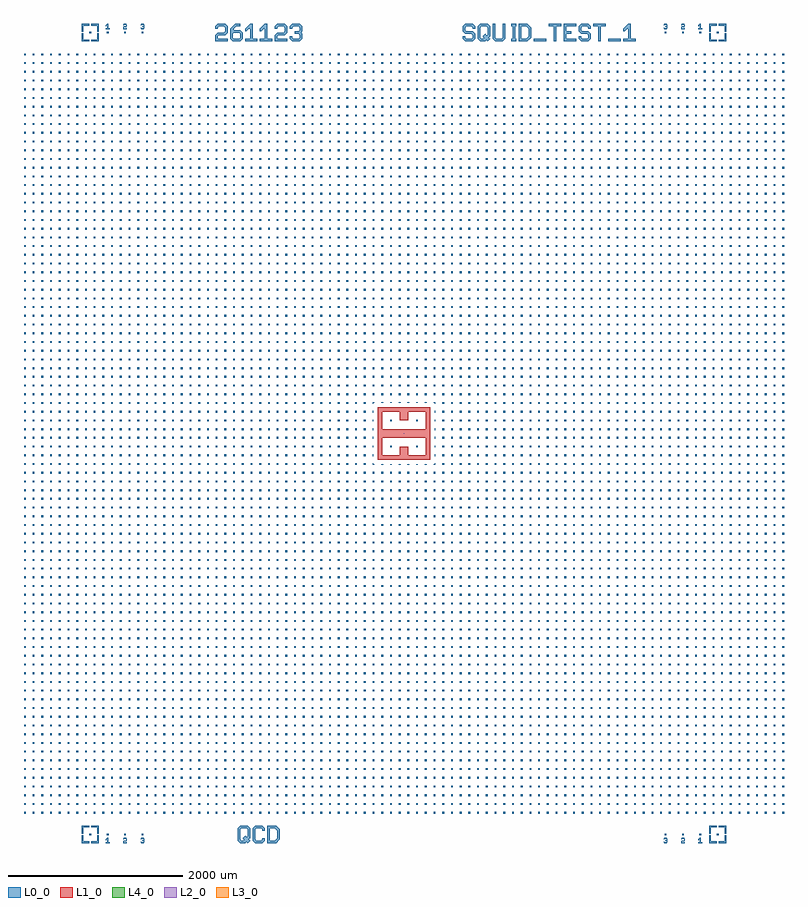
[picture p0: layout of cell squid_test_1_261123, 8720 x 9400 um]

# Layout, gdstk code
import gdstk
lib = gdstk.Library(unit=1e-6, precision=1e-09)
def R(c, l, rs):  # rectangles x0, y0, x1, y1
    for r in rs: c.add(gdstk.rectangle(r[:2], r[2:], *l))
def A(c, l, x, y, w, h, nx, ny, dx, dy):  # array of equal rectangles
    R(c, l, [(x+i*dx, y+j*dy, x+i*dx+w, y+j*dy+h) for i in range(nx) for j in range(ny)])
def P(c, l, *ps):  # polygons
    for p in ps: c.add(gdstk.Polygon(p, *l))
L0_0 = (0, 0)
L1_0 = (1, 0)
L2_0 = (2, 0)
L3_0 = (3, 0)
L4_0 = (4, 0)

squid_test_1_261123 = lib.new_cell('squid_test_1_261123')
A(squid_test_1_261123, L0_0, -3610, -4610, 20, 20, 4, 2, 200, 9200)
A(squid_test_1_261123, L0_0, 2990, -4610, 20, 20, 4, 2, 200, 9200)
A(squid_test_1_261123, L0_0, -4360, -4360, 20, 20, 88, 40, 100, 100)
A(squid_test_1_261123, L0_0, -4360, -360, 20, 20, 40, 8, 100, 100)
A(squid_test_1_261123, L0_0, -260, -360, 20, 10, 6, 2, 100, 710)
A(squid_test_1_261123, L0_0, 440, -360, 20, 20, 40, 2, 100, 100)
A(squid_test_1_261123, L0_0, -360, -260, 10, 20, 1, 6, 0, 100)
A(squid_test_1_261123, L0_0, 350, -260, 10, 20, 1, 6, 0, 100)
A(squid_test_1_261123, L0_0, -160, -160, 20, 20, 3, 2, 300, 300)
A(squid_test_1_261123, L0_0, 540, -160, 20, 20, 39, 2, 100, 300)
A(squid_test_1_261123, L0_0, 440, -60, 20, 20, 40, 2, 100, 100)
A(squid_test_1_261123, L0_0, 440, 240, 20, 20, 40, 2, 100, 100)
A(squid_test_1_261123, L0_0, -4360, 440, 20, 20, 88, 40, 100, 100)
R(squid_test_1_261123, L0_0, [(1488.095,4500,1630.952,4528.571), (2345.237,4500,2488.094,4528.571)])
P(squid_test_1_261123, L0_0, [(2230.952,4500),(2230.952,4671.428),(2173.809,4671.428),(2173.809,4700),(2316.666,4700),(2316.666,4671.428),(2259.523,4671.428),(2259.523,4500)],
  [(3610,4500),(3610,4520),(3680,4520),(3680,4590),(3700,4590),(3700,4500)],
  [(3680,4610),(3680,4680),(3610,4680),(3610,4700),(3700,4700),(3700,4610)],
  [(3500,4610),(3500,4700),(3590,4700),(3590,4680),(3520,4680),(3520,4610)],
  [(3500,4500),(3500,4590),(3520,4590),(3520,4520),(3590,4520),(3590,4500)],
  [(3378.572,4640),(3378.572,4648.571),(3395.715,4648.571),(3395.715,4682.857),(3391.429,4682.857),(3382.858,4674.286),(3378.572,4674.286),(3378.572,4682.857),(3395.715,4700),(3404.286,4700),(3404.286,4648.571),(3421.429,4648.571),(3421.429,4640)],
  [(3178.572,4640),(3178.572,4661.429),(3187.143,4670),(3208.572,4670),(3212.858,4674.286),(3212.858,4687.143),(3208.572,4691.429),(3191.429,4691.429),(3187.143,4687.143),(3187.143,4682.857),(3178.572,4682.857),(3178.572,4691.429),(3187.143,4700),(3212.858,4700),(3221.429,4691.429),(3221.429,4670),(3212.858,4661.429),(3191.429,4661.429),(3187.143,4657.143),(3187.143,4648.571),(3221.429,4648.571),(3221.429,4640)],
  [(2987.143,4640),(2978.572,4648.571),(2978.572,4657.143),(2987.143,4657.143),(2987.143,4652.857),(2991.429,4648.571),(3008.572,4648.571),(3012.858,4652.857),(3012.858,4661.429),(3008.572,4665.714),(2995.715,4665.714),(2995.715,4674.286),(3008.572,4674.286),(3012.858,4678.571),(3012.858,4687.143),(3008.572,4691.429),(2991.429,4691.429),(2987.143,4687.143),(2987.143,4682.857),(2978.572,4682.857),(2978.572,4691.429),(2987.143,4700),(3012.858,4700),(3021.429,4691.429),(3021.429,4674.286),(3017.143,4670),(3021.429,4665.714),(3021.429,4648.571),(3012.858,4640)],
  [(2516.666,4500),(2516.666,4528.571),(2573.809,4528.571),(2573.809,4642.857),(2559.523,4642.857),(2530.952,4614.286),(2516.666,4614.286),(2516.666,4642.857),(2573.809,4700),(2602.38,4700),(2602.38,4528.571),(2659.523,4528.571),(2659.523,4500)],
  [(1045.238,4500),(1016.667,4528.571),(1016.667,4700),(1045.238,4700),(1045.238,4542.857),(1059.524,4528.571),(1116.667,4528.571),(1130.953,4542.857),(1130.953,4700),(1159.524,4700),(1159.524,4528.571),(1130.953,4500)],
  [(2030.952,4500),(2002.381,4528.571),(2002.381,4557.143),(2030.952,4557.143),(2030.952,4542.857),(2045.238,4528.571),(2102.381,4528.571),(2116.667,4542.857),(2116.667,4571.429),(2102.381,4585.714),(2030.952,4585.714),(2002.381,4614.286),(2002.381,4671.428),(2030.952,4700),(2116.667,4700),(2145.238,4671.428),(2145.238,4642.857),(2116.667,4642.857),(2116.667,4657.143),(2102.381,4671.428),(2045.238,4671.428),(2030.952,4657.143),(2030.952,4628.571),(2045.238,4614.286),(2116.667,4614.286),(2145.238,4585.714),(2145.238,4528.571),(2116.667,4500)],
  [(1716.667,4500),(1716.667,4671.428),(1659.524,4671.428),(1659.524,4700),(1802.381,4700),(1802.381,4671.428),(1745.238,4671.428),(1745.238,4500)],
  [(1830.952,4500),(1830.952,4700),(1973.809,4700),(1973.809,4671.428),(1859.523,4671.428),(1859.523,4614.286),(1916.666,4614.286),(1916.666,4585.714),(1859.523,4585.714),(1859.523,4528.571),(1973.809,4528.571),(1973.809,4500)],
  [(1230.953,4500),(1230.953,4528.571),(1245.239,4528.571),(1245.239,4671.428),(1230.953,4671.428),(1230.953,4700),(1288.096,4700),(1288.096,4671.428),(1273.81,4671.428),(1273.81,4528.571),(1288.096,4528.571),(1288.096,4500)],
  [(1316.667,4500),(1316.667,4700),(1416.667,4700),(1445.238,4671.428),(1345.238,4671.428),(1345.238,4528.571),(1402.381,4528.571),(1430.953,4557.143),(1430.953,4642.857),(1402.381,4671.428),(1445.238,4671.428),(1459.524,4657.143),(1459.524,4542.857),(1416.667,4500)],
  [(702.381,4500),(673.81,4528.571),(673.81,4557.143),(702.381,4557.143),(702.381,4542.857),(716.667,4528.571),(773.81,4528.571),(788.096,4542.857),(788.096,4571.429),(773.81,4585.714),(702.381,4585.714),(673.81,4614.286),(673.81,4671.428),(702.381,4700),(788.096,4700),(816.667,4671.428),(816.667,4642.857),(788.096,4642.857),(788.096,4657.143),(773.81,4671.428),(716.667,4671.428),(702.381,4657.143),(702.381,4628.571),(716.667,4614.286),(788.096,4614.286),(816.667,4585.714),(816.667,4528.571),(788.096,4500)],
  [(873.81,4500),(845.239,4528.571),(845.239,4671.428),(873.81,4700),(959.525,4700),(988.096,4671.428),(888.096,4671.428),(873.81,4657.143),(873.81,4542.857),(888.096,4528.571),(916.668,4528.571),(916.668,4542.857),(902.382,4557.143),(930.953,4585.714),(945.239,4571.429),(959.525,4571.429),(959.525,4657.143),(945.239,4671.428),(988.096,4671.428),(988.096,4557.143),(973.81,4542.857),(988.096,4528.571),(959.525,4500),(945.239,4514.286),(930.953,4500)],
  [(350,340),(350,350),(340,350),(340,360),(360,360),(360,340)],
  [(-1652.381,4500),(-1652.381,4528.571),(-1595.238,4528.571),(-1595.238,4642.857),(-1609.524,4642.857),(-1638.095,4614.286),(-1652.381,4614.286),(-1652.381,4642.857),(-1595.238,4700),(-1566.667,4700),(-1566.667,4528.571),(-1509.524,4528.571),(-1509.524,4500)],
  [(-1480.953,4500),(-1480.953,4571.429),(-1452.382,4600),(-1380.953,4600),(-1366.667,4614.286),(-1366.667,4657.143),(-1380.953,4671.428),(-1438.096,4671.428),(-1452.382,4657.143),(-1452.382,4642.857),(-1480.953,4642.857),(-1480.953,4671.428),(-1452.382,4700),(-1366.667,4700),(-1338.096,4671.428),(-1338.096,4600),(-1366.667,4571.429),(-1438.096,4571.429),(-1452.382,4557.143),(-1452.382,4528.571),(-1338.096,4528.571),(-1338.096,4500)],
  [(-1280.953,4500),(-1309.524,4528.571),(-1309.524,4557.143),(-1280.953,4557.143),(-1280.953,4542.857),(-1266.667,4528.571),(-1209.524,4528.571),(-1195.238,4542.857),(-1195.238,4571.429),(-1209.524,4585.714),(-1252.381,4585.714),(-1252.381,4614.286),(-1209.524,4614.286),(-1195.238,4628.571),(-1195.238,4657.143),(-1209.524,4671.428),(-1266.667,4671.428),(-1280.953,4657.143),(-1280.953,4642.857),(-1309.524,4642.857),(-1309.524,4671.428),(-1280.953,4700),(-1195.238,4700),(-1166.667,4671.428),(-1166.667,4614.286),(-1180.953,4600),(-1166.667,4585.714),(-1166.667,4528.571),(-1195.238,4500)],
  [(-2166.666,4500),(-2166.666,4571.429),(-2138.095,4600),(-2066.666,4600),(-2052.38,4614.286),(-2052.38,4657.143),(-2066.666,4671.428),(-2123.809,4671.428),(-2138.095,4657.143),(-2138.095,4642.857),(-2166.666,4642.857),(-2166.666,4671.428),(-2138.095,4700),(-2052.38,4700),(-2023.809,4671.428),(-2023.809,4600),(-2052.38,4571.429),(-2123.809,4571.429),(-2138.095,4557.143),(-2138.095,4528.571),(-2023.809,4528.571),(-2023.809,4500)],
  [(-1966.667,4500),(-1995.238,4528.571),(-1995.238,4642.857),(-1938.095,4700),(-1880.952,4700),(-1880.952,4671.428),(-1923.809,4671.428),(-1952.381,4642.857),(-1952.381,4628.571),(-1880.952,4628.571),(-1852.381,4600),(-1952.381,4600),(-1966.667,4585.714),(-1966.667,4542.857),(-1952.381,4528.571),(-1895.238,4528.571),(-1880.952,4542.857),(-1880.952,4585.714),(-1895.238,4600),(-1852.381,4600),(-1852.381,4528.571),(-1880.952,4500)],
  [(-1823.809,4500),(-1823.809,4528.571),(-1766.666,4528.571),(-1766.666,4642.857),(-1780.952,4642.857),(-1809.523,4614.286),(-1823.809,4614.286),(-1823.809,4642.857),(-1766.666,4700),(-1738.095,4700),(-1738.095,4528.571),(-1680.952,4528.571),(-1680.952,4500)],
  [(-3012.858,4640),(-3021.429,4648.571),(-3021.429,4657.143),(-3012.858,4657.143),(-3012.858,4652.857),(-3008.572,4648.571),(-2991.429,4648.571),(-2987.143,4652.857),(-2987.143,4661.429),(-2991.429,4665.714),(-3004.286,4665.714),(-3004.286,4674.286),(-2991.429,4674.286),(-2987.143,4678.571),(-2987.143,4687.143),(-2991.429,4691.429),(-3008.572,4691.429),(-3012.858,4687.143),(-3012.858,4682.857),(-3021.429,4682.857),(-3021.429,4691.429),(-3012.858,4700),(-2987.143,4700),(-2978.572,4691.429),(-2978.572,4674.286),(-2982.858,4670),(-2978.572,4665.714),(-2978.572,4648.571),(-2987.143,4640)],
  [(-3221.429,4640),(-3221.429,4661.429),(-3212.858,4670),(-3191.429,4670),(-3187.143,4674.286),(-3187.143,4687.143),(-3191.429,4691.429),(-3208.572,4691.429),(-3212.858,4687.143),(-3212.858,4682.857),(-3221.429,4682.857),(-3221.429,4691.429),(-3212.858,4700),(-3187.143,4700),(-3178.572,4691.429),(-3178.572,4670),(-3187.143,4661.429),(-3208.572,4661.429),(-3212.858,4657.143),(-3212.858,4648.571),(-3178.572,4648.571),(-3178.572,4640)],
  [(-3700,4610),(-3700,4700),(-3610,4700),(-3610,4680),(-3680,4680),(-3680,4610)],
  [(-3520,4610),(-3520,4680),(-3590,4680),(-3590,4700),(-3500,4700),(-3500,4610)],
  [(-3421.429,4640),(-3421.429,4648.571),(-3404.286,4648.571),(-3404.286,4682.857),(-3408.572,4682.857),(-3417.143,4674.286),(-3421.429,4674.286),(-3421.429,4682.857),(-3404.286,4700),(-3395.715,4700),(-3395.715,4648.571),(-3378.572,4648.571),(-3378.572,4640)],
  [(-3590,4500),(-3590,4520),(-3520,4520),(-3520,4590),(-3500,4590),(-3500,4500)],
  [(-3700,4500),(-3700,4590),(-3680,4590),(-3680,4520),(-3610,4520),(-3610,4500)],
  [(-360,340),(-360,360),(-340,360),(-340,350),(-350,350),(-350,340)],
  [(-360,-360),(-360,-340),(-350,-340),(-350,-350),(-340,-350),(-340,-360)],
  [(-3520,-4590),(-3520,-4520),(-3590,-4520),(-3590,-4500),(-3500,-4500),(-3500,-4590)],
  [(-3421.429,-4700),(-3421.429,-4691.429),(-3404.286,-4691.429),(-3404.286,-4657.143),(-3408.572,-4657.143),(-3417.143,-4665.714),(-3421.429,-4665.714),(-3421.429,-4657.143),(-3404.286,-4640),(-3395.715,-4640),(-3395.715,-4691.429),(-3378.572,-4691.429),(-3378.572,-4700)],
  [(-3590,-4700),(-3590,-4680),(-3520,-4680),(-3520,-4610),(-3500,-4610),(-3500,-4700)],
  [(-3700,-4590),(-3700,-4500),(-3610,-4500),(-3610,-4520),(-3680,-4520),(-3680,-4590)],
  [(-3700,-4700),(-3700,-4610),(-3680,-4610),(-3680,-4680),(-3610,-4680),(-3610,-4700)],
  [(-3221.429,-4700),(-3221.429,-4678.571),(-3212.858,-4670),(-3191.429,-4670),(-3187.143,-4665.714),(-3187.143,-4652.857),(-3191.429,-4648.571),(-3208.572,-4648.571),(-3212.858,-4652.857),(-3212.858,-4657.143),(-3221.429,-4657.143),(-3221.429,-4648.571),(-3212.858,-4640),(-3187.143,-4640),(-3178.572,-4648.571),(-3178.572,-4670),(-3187.143,-4678.571),(-3208.572,-4678.571),(-3212.858,-4682.857),(-3212.858,-4691.429),(-3178.572,-4691.429),(-3178.572,-4700)],
  [(-3012.858,-4700),(-3021.429,-4691.429),(-3021.429,-4682.857),(-3012.858,-4682.857),(-3012.858,-4687.143),(-3008.572,-4691.429),(-2991.429,-4691.429),(-2987.143,-4687.143),(-2987.143,-4678.571),(-2991.429,-4674.286),(-3004.286,-4674.286),(-3004.286,-4665.714),(-2991.429,-4665.714),(-2987.143,-4661.429),(-2987.143,-4652.857),(-2991.429,-4648.571),(-3008.572,-4648.571),(-3012.858,-4652.857),(-3012.858,-4657.143),(-3021.429,-4657.143),(-3021.429,-4648.571),(-3012.858,-4640),(-2987.143,-4640),(-2978.572,-4648.571),(-2978.572,-4665.714),(-2982.858,-4670),(-2978.572,-4674.286),(-2978.572,-4691.429),(-2987.143,-4700)],
  [(-1709.524,-4700),(-1738.095,-4671.429),(-1738.095,-4528.572),(-1709.524,-4500),(-1623.809,-4500),(-1595.238,-4528.572),(-1595.238,-4557.143),(-1623.809,-4557.143),(-1623.809,-4542.857),(-1638.095,-4528.572),(-1695.238,-4528.572),(-1709.524,-4542.857),(-1709.524,-4657.143),(-1695.238,-4671.429),(-1638.095,-4671.429),(-1623.809,-4657.143),(-1623.809,-4642.857),(-1595.238,-4642.857),(-1595.238,-4671.429),(-1623.809,-4700)],
  [(-1880.953,-4700),(-1909.524,-4671.429),(-1909.524,-4528.572),(-1880.953,-4500),(-1795.238,-4500),(-1766.667,-4528.572),(-1866.667,-4528.572),(-1880.953,-4542.857),(-1880.953,-4657.143),(-1866.667,-4671.429),(-1838.095,-4671.429),(-1838.095,-4657.143),(-1852.381,-4642.857),(-1823.81,-4614.286),(-1809.524,-4628.571),(-1795.238,-4628.571),(-1795.238,-4542.857),(-1809.524,-4528.572),(-1766.667,-4528.572),(-1766.667,-4642.857),(-1780.953,-4657.143),(-1766.667,-4671.429),(-1795.238,-4700),(-1809.524,-4685.714),(-1823.81,-4700)],
  [(-1566.667,-4700),(-1566.667,-4500),(-1466.667,-4500),(-1438.096,-4528.572),(-1538.096,-4528.572),(-1538.096,-4671.429),(-1480.953,-4671.429),(-1452.381,-4642.857),(-1452.381,-4557.143),(-1480.953,-4528.572),(-1438.096,-4528.572),(-1423.81,-4542.857),(-1423.81,-4657.143),(-1466.667,-4700)],
  [(340,-360),(340,-350),(350,-350),(350,-340),(360,-340),(360,-360)],
  [(3178.572,-4700),(3178.572,-4678.571),(3187.143,-4670),(3208.572,-4670),(3212.858,-4665.714),(3212.858,-4652.857),(3208.572,-4648.571),(3191.429,-4648.571),(3187.143,-4652.857),(3187.143,-4657.143),(3178.572,-4657.143),(3178.572,-4648.571),(3187.143,-4640),(3212.858,-4640),(3221.429,-4648.571),(3221.429,-4670),(3212.858,-4678.571),(3191.429,-4678.571),(3187.143,-4682.857),(3187.143,-4691.429),(3221.429,-4691.429),(3221.429,-4700)],
  [(2987.143,-4700),(2978.572,-4691.429),(2978.572,-4682.857),(2987.143,-4682.857),(2987.143,-4687.143),(2991.429,-4691.429),(3008.572,-4691.429),(3012.858,-4687.143),(3012.858,-4678.571),(3008.572,-4674.286),(2995.715,-4674.286),(2995.715,-4665.714),(3008.572,-4665.714),(3012.858,-4661.429),(3012.858,-4652.857),(3008.572,-4648.571),(2991.429,-4648.571),(2987.143,-4652.857),(2987.143,-4657.143),(2978.572,-4657.143),(2978.572,-4648.571),(2987.143,-4640),(3012.858,-4640),(3021.429,-4648.571),(3021.429,-4665.714),(3017.143,-4670),(3021.429,-4674.286),(3021.429,-4691.429),(3012.858,-4700)],
  [(3500,-4700),(3500,-4610),(3520,-4610),(3520,-4680),(3590,-4680),(3590,-4700)],
  [(3680,-4590),(3680,-4520),(3610,-4520),(3610,-4500),(3700,-4500),(3700,-4590)],
  [(3610,-4700),(3610,-4680),(3680,-4680),(3680,-4610),(3700,-4610),(3700,-4700)],
  [(3378.572,-4700),(3378.572,-4691.429),(3395.715,-4691.429),(3395.715,-4657.143),(3391.429,-4657.143),(3382.858,-4665.714),(3378.572,-4665.714),(3378.572,-4657.143),(3395.715,-4640),(3404.286,-4640),(3404.286,-4691.429),(3421.429,-4691.429),(3421.429,-4700)],
  [(3500,-4590),(3500,-4500),(3590,-4500),(3590,-4520),(3520,-4520),(3520,-4590)])
R(squid_test_1_261123, L1_0, [(-250,-50,-5,50), (5,-50,250,50)])
P(squid_test_1_261123, L1_0, [(-300,-300),(-300,250),(-250,250),(-250,-250),(-50,-250),(-50,-150),(50,-150),(50,-250),(250,-250),(250,250),(50,250),(50,150),(-50,150),(-50,250),(-300,250),(-300,300),(300,300),(300,-300)],
  [(-5,-5),(-5,5),(-1.5,5),(-1.5,1.3),(1.5,1.3),(1.5,5),(5,5),(5,-5),(2.4,-5),(2.4,-1.3),(-2.4,-1.3),(-2.4,-5)])
R(squid_test_1_261123, L2_0, [(-3.1,-2.3,-2.9,2.3), (2.9,-2.3,3.1,2.3), (-4.1,0.6,4.1,0.8)])
R(squid_test_1_261123, L3_0, [(-3.2,-3.1,-2.8,-2.1), (2.8,-3.1,3.2,-2.1), (-4.9,0.5,-3.9,0.9), (3.9,0.5,4.9,0.9), (-3.2,2.1,-2.8,3.1), (2.8,2.1,3.2,3.1)])
R(squid_test_1_261123, L4_0, [(-3.6,-2.8,-0.9,-1.3), (0.9,-2.8,3.6,-1.3), (-0.75,0.1,0.75,2.8)])

lib.write_gds('squid_test_1_261123.gds')
